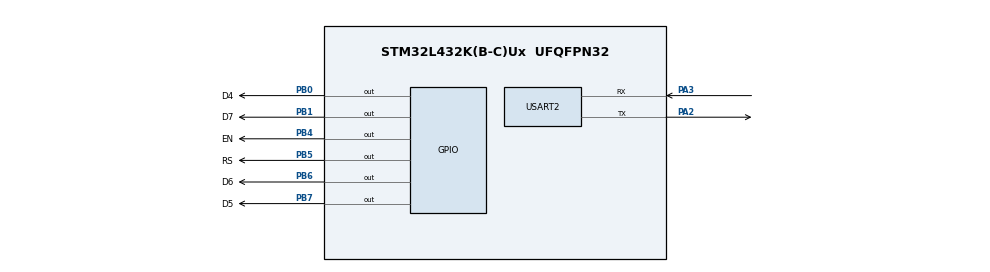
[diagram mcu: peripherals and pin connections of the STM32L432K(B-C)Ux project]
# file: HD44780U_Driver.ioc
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Mcu.Family=STM32L4
Mcu.Name=STM32L432K(B-C)Ux
Mcu.Package=UFQFPN32
NVIC.PriorityGroup=NVIC_PRIORITYGROUP_4
NVIC.USART2_IRQn=true\:0\:0\:false\:false\:true\:true\:true
PA2.Mode=Asynchronous
PA2.Signal=USART2_TX
PA3.Mode=Asynchronous
PA3.Signal=USART2_RX
PB0.GPIO_Label=D4
PB0.GPIO_PuPd=GPIO_PULLDOWN
PB0.Signal=GPIO_Output
PB1.GPIO_Label=D7
PB1.GPIO_PuPd=GPIO_PULLDOWN
PB1.Signal=GPIO_Output
PB4\ (NJTRST).GPIO_Label=EN
PB4\ (NJTRST).GPIO_PuPd=GPIO_PULLDOWN
PB4\ (NJTRST).Signal=GPIO_Output
PB5.GPIO_Label=RS
PB5.GPIO_PuPd=GPIO_PULLDOWN
PB5.Signal=GPIO_Output
PB6.GPIO_Label=D6
PB6.GPIO_PuPd=GPIO_PULLDOWN
PB6.Signal=GPIO_Output
PB7.GPIO_Label=D5
PB7.GPIO_PuPd=GPIO_PULLDOWN
PB7.Signal=GPIO_Output
ProjectManager.HeapSize=0x200
ProjectManager.StackSize=0x400
ProjectManager.TargetToolchain=STM32CubeIDE
RCC.HSE_VALUE=8000000
RCC.HSI48_VALUE=48000000
RCC.HSI_VALUE=16000000
RCC.LSE_VALUE=32768
RCC.MSI_VALUE=4000000
RCC.VCOOutputFreq_Value=32000000
USART2.VirtualMode-Asynchronous=VM_ASYNC
board=custom

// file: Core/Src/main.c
/* USER CODE BEGIN Header */
/**
  ******************************************************************************
  * @file           : main.c
  * @brief          : Main program body
  ******************************************************************************
  * @attention
  *
  * <h2><center>&copy; Copyright (c) 2020 STMicroelectronics.
  * All rights reserved.</center></h2>
  *
  * This software component is licensed by ST under BSD 3-Clause license,
  * the "License"; You may not use this file except in compliance with the
  * License. You may obtain a copy of the License at:
  *                        opensource.org/licenses/BSD-3-Clause
  *
  ******************************************************************************
  */
/* USER CODE END Header */
#include "main.h"
/* USER CODE BEGIN Includes */
#include "hd44780u_driver.h"
#include "usart.h"
#include "string.h"
/* USER CODE END Includes */

/* USER CODE BEGIN PV */
hd44780u display = {0};
/* USER CODE END PV */

void SystemClock_Config(void);
static void MX_GPIO_Init(void);
static void MX_USART2_UART_Init(void);
/* USER CODE BEGIN PFP */
static void hd44780u_config(void);
/* USER CODE END PFP */

/* USER CODE BEGIN 0 */
static void hd44780u_config(void)
{
  display.port = GPIOB;
  display.en_pin = LL_GPIO_PIN_4;
  display.rs_pin = LL_GPIO_PIN_5;
  display.d4_pin = LL_GPIO_PIN_0;
  display.d5_pin = LL_GPIO_PIN_7;
  display.d6_pin = LL_GPIO_PIN_6;
  display.d7_pin = LL_GPIO_PIN_1;
  hd44780u_init(&display);
  hd44780u_display_on(&display, HD44780U_CURSOR_OFF | HD44780U_BLINK_OFF);
}
/* USER CODE END 0 */

int main(void)
{

  /* MCU Configuration--------------------------------------------------------*/

  /* Reset of all peripherals, Initializes the Flash interface and the Systick. */

  LL_APB2_GRP1_EnableClock(LL_APB2_GRP1_PERIPH_SYSCFG);
  LL_APB1_GRP1_EnableClock(LL_APB1_GRP1_PERIPH_PWR);

  NVIC_SetPriorityGrouping(NVIC_PRIORITYGROUP_4);

  /* System interrupt init*/

  /* Configure the system clock */
  SystemClock_Config();

  /* Initialize all configured peripherals */
  MX_GPIO_Init();
  MX_USART2_UART_Init();
  /* USER CODE BEGIN 2 */
  hd44780u_config();
  char *msg = "Hello, World!";
  hd44780u_put_str(&display, msg, strlen(msg));
  hd44780u_set_cursor(&display, 1, 6);
  hd44780u_put_str(&display, ":)", strlen(":)"));
  hd44780u_set_cursor(&display, 1, 0);
  hd44780u_cursor_on(&display);
  /* USER CODE END 2 */

  /* Infinite loop */
  while (1)
  {

  }
}

void SystemClock_Config(void)
{
  LL_FLASH_SetLatency(LL_FLASH_LATENCY_0);
  while (LL_FLASH_GetLatency() != LL_FLASH_LATENCY_0)
  {
  }
  LL_PWR_SetRegulVoltageScaling(LL_PWR_REGU_VOLTAGE_SCALE1);
  LL_RCC_MSI_Enable();

  /* Wait till MSI is ready */
  while (LL_RCC_MSI_IsReady() != 1)
  {
  }
  LL_RCC_MSI_EnableRangeSelection();
  LL_RCC_MSI_SetRange(LL_RCC_MSIRANGE_6);
  LL_RCC_MSI_SetCalibTrimming(0);
  LL_RCC_SetSysClkSource(LL_RCC_SYS_CLKSOURCE_MSI);

  /* Wait till System clock is ready */
  while (LL_RCC_GetSysClkSource() != LL_RCC_SYS_CLKSOURCE_STATUS_MSI)
  {
  }
  LL_RCC_SetAHBPrescaler(LL_RCC_SYSCLK_DIV_1);
  LL_RCC_SetAPB1Prescaler(LL_RCC_APB1_DIV_1);
  LL_RCC_SetAPB2Prescaler(LL_RCC_APB2_DIV_1);

  LL_Init1msTick(4000000);

  LL_SetSystemCoreClock(4000000);
  LL_RCC_SetUSARTClockSource(LL_RCC_USART2_CLKSOURCE_PCLK1);
}

static void MX_USART2_UART_Init(void)
{

  LL_USART_InitTypeDef USART_InitStruct = {0};

  LL_GPIO_InitTypeDef GPIO_InitStruct = {0};

  /* Peripheral clock enable */
  LL_APB1_GRP1_EnableClock(LL_APB1_GRP1_PERIPH_USART2);

  LL_AHB2_GRP1_EnableClock(LL_AHB2_GRP1_PERIPH_GPIOA);
  /**USART2 GPIO Configuration
  PA2   ------> USART2_TX
  PA3   ------> USART2_RX
  */
  GPIO_InitStruct.Pin = LL_GPIO_PIN_2 | LL_GPIO_PIN_3;
  GPIO_InitStruct.Mode = LL_GPIO_MODE_ALTERNATE;
  GPIO_InitStruct.Speed = LL_GPIO_SPEED_FREQ_VERY_HIGH;
  GPIO_InitStruct.OutputType = LL_GPIO_OUTPUT_PUSHPULL;
  GPIO_InitStruct.Pull = LL_GPIO_PULL_NO;
  GPIO_InitStruct.Alternate = LL_GPIO_AF_7;
  LL_GPIO_Init(GPIOA, &GPIO_InitStruct);

  /* USART2 interrupt Init */
  NVIC_SetPriority(USART2_IRQn, NVIC_EncodePriority(NVIC_GetPriorityGrouping(), 0, 0));
  NVIC_EnableIRQ(USART2_IRQn);

  USART_InitStruct.BaudRate = 115200;
  USART_InitStruct.DataWidth = LL_USART_DATAWIDTH_8B;
  USART_InitStruct.StopBits = LL_USART_STOPBITS_1;
  USART_InitStruct.Parity = LL_USART_PARITY_NONE;
  USART_InitStruct.TransferDirection = LL_USART_DIRECTION_TX_RX;
  USART_InitStruct.HardwareFlowControl = LL_USART_HWCONTROL_NONE;
  USART_InitStruct.OverSampling = LL_USART_OVERSAMPLING_16;
  LL_USART_Init(USART2, &USART_InitStruct);
  LL_USART_ConfigAsyncMode(USART2);
  LL_USART_Enable(USART2);
}

static void MX_GPIO_Init(void)
{
  LL_GPIO_InitTypeDef GPIO_InitStruct = {0};

  /* GPIO Ports Clock Enable */
  LL_AHB2_GRP1_EnableClock(LL_AHB2_GRP1_PERIPH_GPIOA);
  LL_AHB2_GRP1_EnableClock(LL_AHB2_GRP1_PERIPH_GPIOB);

  /**/
  LL_GPIO_ResetOutputPin(GPIOB, D4_Pin | D7_Pin | EN_Pin | RS_Pin | D6_Pin | D5_Pin);

  /**/
  GPIO_InitStruct.Pin = D4_Pin | D7_Pin | EN_Pin | RS_Pin | D6_Pin | D5_Pin;
  GPIO_InitStruct.Mode = LL_GPIO_MODE_OUTPUT;
  GPIO_InitStruct.Speed = LL_GPIO_SPEED_FREQ_LOW;
  GPIO_InitStruct.OutputType = LL_GPIO_OUTPUT_PUSHPULL;
  GPIO_InitStruct.Pull = LL_GPIO_PULL_DOWN;
  LL_GPIO_Init(GPIOB, &GPIO_InitStruct);
}

void Error_Handler(void)
{
}

/************************ (C) COPYRIGHT STMicroelectronics *****END OF FILE****/
